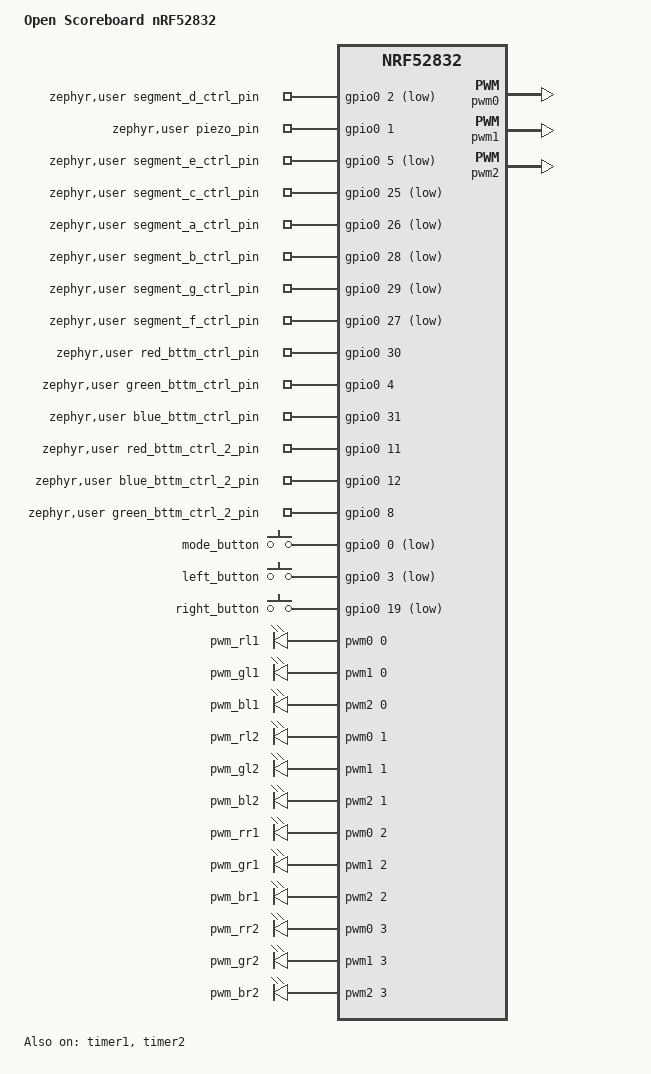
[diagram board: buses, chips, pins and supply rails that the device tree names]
// Copyright (c) 2024 Nordic Semiconductor ASA
// SPDX-License-Identifier: Apache-2.0

/dts-v1/;
#include <nordic/nrf52832_qfaa.dtsi>
#include "open_scoreboard_nrf52832-pinctrl.dtsi"
#include <zephyr/dt-bindings/gpio/gpio.h>

/ {
	model = "Open Scoreboard nRF52832";
	compatible = "phirks,open-scoreboard-nrf52832";

	chosen {
		zephyr,sram = &sram0;
		zephyr,flash = &flash0;
		zephyr,code-partition = &slot0_partition;
	};

	zephyr,user {
		segment_d_ctrl_pin-gpios = <&gpio0 2 GPIO_ACTIVE_LOW>;
		piezo_pin-gpios = <&gpio0 1 0>;
		segment_e_ctrl_pin-gpios = <&gpio0 5 GPIO_ACTIVE_LOW>;
		
		segment_c_ctrl_pin-gpios = <&gpio0 25 GPIO_ACTIVE_LOW>;
		segment_a_ctrl_pin-gpios = <&gpio0 26 GPIO_ACTIVE_LOW>;
		segment_b_ctrl_pin-gpios = <&gpio0 28 GPIO_ACTIVE_LOW>;
		segment_g_ctrl_pin-gpios = <&gpio0 29 GPIO_ACTIVE_LOW>;
		segment_f_ctrl_pin-gpios = <&gpio0 27 GPIO_ACTIVE_LOW>;

		red_bttm_ctrl_pin-gpios = <&gpio0 30 0>;
		green_bttm_ctrl_pin-gpios = <&gpio0 4 0>;
		blue_bttm_ctrl_pin-gpios = <&gpio0 31 0>;

		red_bttm_ctrl_2_pin-gpios = <&gpio0 11 0>;
		blue_bttm_ctrl_2_pin-gpios = <&gpio0 12 0>;
		green_bttm_ctrl_2_pin-gpios = <&gpio0 8 0>;
		
		// red_left_ctrl_pin-gpios = <&gpio0 18 0>;
		// green_left_ctrl_pin-gpios = <&gpio0 17 0>;
		// blue_left_ctrl_pin-gpios = <&gpio0 16 0>;

		// red_left_ctrl_2_pin-gpios = <&gpio0 15 0>;
		// green_left_ctrl_2_pin-gpios = <&gpio0 13 0>
		// blue_left_ctrl_2_pin-gpios = <&gpio0 14 0>;

		// red_right_ctrl_pin-gpios = <&gpio0 20 0>;
		// green_right_ctrl_pin-gpios = <&gpio0 23 0>;
		// blue_right_ctrl_pin-gpios = <&gpio0 22 0>;
		
		// red_right_ctrl_2_pin-gpios = <&gpio0 24 0>;
		// green_right_ctrl_2_pin-gpios = <&gpio0 6 0>;
		// blue_right_ctrl_2_pin-gpios = <&gpio0 7 0>;
	};

	buttons {
		compatible = "gpio-keys";
		mode_button {
			label = "mode_button";
			gpios = <&gpio0 0 (GPIO_ACTIVE_LOW | GPIO_PULL_UP)>;
		};

		left_button {
			label = "left_button";
			gpios = <&gpio0 3 (GPIO_ACTIVE_LOW | GPIO_PULL_UP)>;
		};

		right_button {
			label = "right_button";
			gpios = <&gpio0 19 (GPIO_ACTIVE_LOW | GPIO_PULL_UP)>;
		};
	};
	pwm_rgb {
		compatible = "pwm-leds";
		pwm_rl1: pwm_rl1 {
			pwms = <&pwm0 0 PWM_MSEC(20) PWM_POLARITY_NORMAL>;
		};
		pwm_gl1: pwm_gl1 {
			pwms = <&pwm1 0 PWM_MSEC(20) PWM_POLARITY_NORMAL>;
		};
		pwm_bl1: pwm_bl1 {
			pwms = <&pwm2 0 PWM_MSEC(20) PWM_POLARITY_NORMAL>;
		};
		pwm_rl2: pwm_rl2 {
			pwms = <&pwm0 1 PWM_MSEC(20) PWM_POLARITY_NORMAL>;
		};
		pwm_gl2: pwm_gl2 {
			pwms = <&pwm1 1 PWM_MSEC(20) PWM_POLARITY_NORMAL>;
		};
		pwm_bl2: pwm_bl2 {
			pwms = <&pwm2 1 PWM_MSEC(20) PWM_POLARITY_NORMAL>;
		};
		pwm_rr1: pwm_rr1 {
			pwms = <&pwm0 2 PWM_MSEC(20) PWM_POLARITY_NORMAL>;
		};
		pwm_gr1: pwm_gr1 {
			pwms = <&pwm1 2 PWM_MSEC(20) PWM_POLARITY_NORMAL>;
		};
		pwm_br1: pwm_br1 {
			pwms = <&pwm2 2 PWM_MSEC(20) PWM_POLARITY_NORMAL>;
		};
		pwm_rr2: pwm_rr2 {
			pwms = <&pwm0 3 PWM_MSEC(20) PWM_POLARITY_NORMAL>;
		};
		pwm_gr2: pwm_br2 {
			pwms = <&pwm1 3 PWM_MSEC(20) PWM_POLARITY_NORMAL>;
		};
		pwm_br2: pwm_gr2 {
			pwms = <&pwm2 3 PWM_MSEC(20) PWM_POLARITY_NORMAL>;
		};
	};
	aliases {
		watchdog0 = &wdt0;
	};

	// sw_pwm: sw-pwm {
	// 	compatible = "nordic,nrf-sw-pwm";
    // 	status ="okay";
    // 	channel-gpios = <&gpio0 16 GPIO_ACTIVE_LOW>;
    // 	clock-prescaler = <0>;
    // 	generator = <&timer2>;
	// 	#pwm-cells = <3>;
	// };
};




&pwm0 {
	status = "okay";
	pinctrl-0 = <&pwm0_default>;
	pinctrl-1 = <&pwm0_sleep>;
	pinctrl-names = "default", "sleep";
};

&pwm1 {
	status = "okay";
	pinctrl-0 = <&pwm1_default>;
	pinctrl-1 = <&pwm1_sleep>;
	pinctrl-names = "default", "sleep";
};

&pwm2 {
	status = "okay";
	pinctrl-0 = <&pwm2_default>;
	pinctrl-1 = <&pwm2_sleep>;
	pinctrl-names = "default", "sleep";
};

&flash0 {
	partitions {
		compatible = "fixed-partitions";
		#address-cells = <1>;
		#size-cells = <1>;

		boot_partition: partition@0 {
			label = "mcuboot";
			reg = <0x0 0xc000>;
		};
		slot0_partition: partition@c000 {
			label = "image-0";
			reg = <0xc000 0x32000>;
		};
		slot1_partition: partition@3e000 {
			label = "image-1";
			reg = <0x3e000 0x32000>;
		};
		scratch_partition: partition@70000 {
			label = "image-scratch";
			reg = <0x70000 0xa000>;
		};
		storage_partition: partition@7a000 {
			label = "storage";
			reg = <0x7a000 0x6000>;
		};
	};
};





&gpio0 {
	status = "okay";
};

&gpiote {
	status = "okay";
};

&pwm0_default {
	group1 {
		psels = <NRF_PSEL(PWM_OUT0, 0, 18)>;
		bias-pull-up;
		/delete-property/ nordic,invert;
	};
	group2 {
		psels = <NRF_PSEL(PWM_OUT1, 0, 15)>;
		bias-pull-up;
		/delete-property/ nordic,invert;
	};
	group3 {
		psels = <NRF_PSEL(PWM_OUT2, 0, 20)>;
		bias-pull-up;
		/delete-property/ nordic,invert;
	};
	group4 {
		psels = <NRF_PSEL(PWM_OUT3, 0, 24)>;
		bias-pull-up;
		/delete-property/ nordic,invert;
	};
};

&pwm0_sleep {
	group1 {
		psels = <NRF_PSEL(PWM_OUT0, 0, 18)>;
		bias-pull-up;
	};
	group2 {
		psels = <NRF_PSEL(PWM_OUT1, 0, 15)>;
		bias-pull-up;
	};
	group3 {
		psels = <NRF_PSEL(PWM_OUT2, 0, 20)>;
		bias-pull-up;
	};
	group4 {
		psels = <NRF_PSEL(PWM_OUT3, 0, 24)>;
		bias-pull-up;
	};
};

&pwm2_default {
	group1 {
		psels = <NRF_PSEL(PWM_OUT0, 0, 17)>;
		bias-pull-up;
		/delete-property/ nordic,invert;
	};
	group2 {
		psels = <NRF_PSEL(PWM_OUT1, 0, 13)>;
		bias-pull-up;
		/delete-property/ nordic,invert;
	};
	group3 {
		psels = <NRF_PSEL(PWM_OUT2, 0, 23)>;
		bias-pull-up;
		/delete-property/ nordic,invert;
	};
	group4 {
		psels = <NRF_PSEL(PWM_OUT3, 0, 6)>;
		bias-pull-up;
		/delete-property/ nordic,invert;
	};
};

&pwm2_sleep {
	group1 {
		psels = <NRF_PSEL(PWM_OUT0, 0, 17)>;
		bias-pull-up;
	};
	group2 {
		psels = <NRF_PSEL(PWM_OUT1, 0, 13)>;
		bias-pull-up;
	};
	group3 {
		psels = <NRF_PSEL(PWM_OUT2, 0, 23)>;
		bias-pull-up;
	};
	group4 {
		psels = <NRF_PSEL(PWM_OUT3, 0, 6)>;
		bias-pull-up;
	};
};

&pwm1_default {
	group1 {
		psels = <NRF_PSEL(PWM_OUT0, 0, 16)>;
		bias-pull-up;
		/delete-property/ nordic,invert;
	};
	group2 {
		psels = <NRF_PSEL(PWM_OUT1, 0, 14)>;
		bias-pull-up;
		/delete-property/ nordic,invert;
	};
	group3 {
		psels = <NRF_PSEL(PWM_OUT2, 0, 22)>;
		bias-pull-up;
		/delete-property/ nordic,invert;
	};
	group4 {
		psels = <NRF_PSEL(PWM_OUT3, 0, 7)>;
		bias-pull-up;
		/delete-property/ nordic,invert;
	};
};

&pwm1_sleep {
	group1 {
		psels = <NRF_PSEL(PWM_OUT0, 0, 16)>;
		bias-pull-up;
	};
	group2 {
		psels = <NRF_PSEL(PWM_OUT1, 0, 14)>;
		bias-pull-up;
	};
	group3 {
		psels = <NRF_PSEL(PWM_OUT2, 0, 22)>;
		bias-pull-up;
	};
	group4 {
		psels = <NRF_PSEL(PWM_OUT3, 0, 7)>;
		bias-pull-up;
	};
};


&timer1 {
	status = "okay";
};

&timer2 {
	status = "okay";
};
